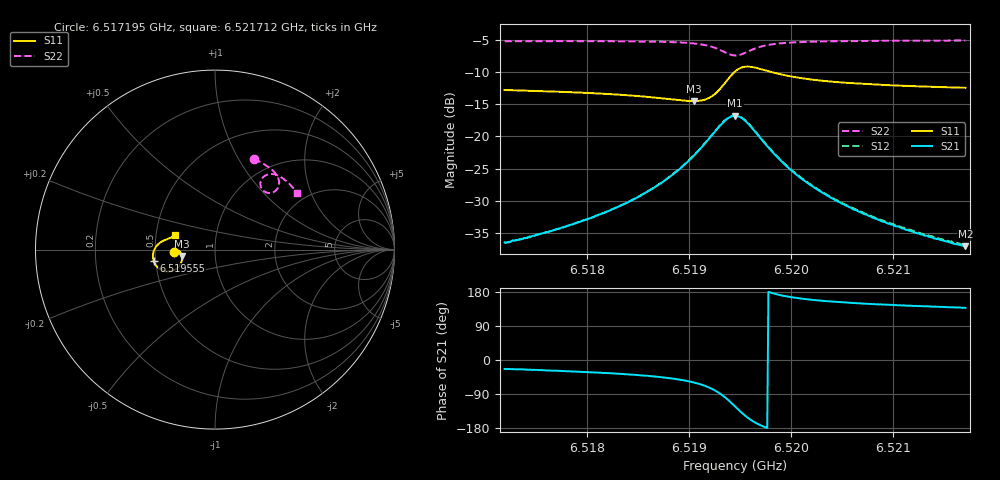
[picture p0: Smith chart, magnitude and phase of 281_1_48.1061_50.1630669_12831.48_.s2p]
#  HZ  S  RI  R  50.00
! Rohde & Schwarz Vector Network Analyzer
! Rohde-Schwarz,ZNB20-2Port,1311601062101988,3.16
! Created: UTC 12/23/2023, 4:02:45 AM
! freq[Hz]  re:S11  im:S11  re:S21  im:S21  re:S12  im:S12  re:S22  im:S22
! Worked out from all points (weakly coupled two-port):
!   401 points, 6.517195 GHz to 6.521712 GHz, reference 50 ohm
!   highest |S21| = -16.80 dB at 6.519454 GHz (marker M1); lowest = -37.0 dB at 6.521712 GHz (marker M2)
!   lowest |S11| = -14.5 dB at 6.519047 GHz (marker M3), VSWR 1.46, Z = 34.3 - j2.49 ohm
!   |S11| at or under -10 dB: start of sweep to 6.519448 GHz; 6.51981 GHz to end of sweep
!   |S22| runs from -7.4 to -5.1 dB; largest |S21 - S12| = 0.0044
!   S11 on the Smith chart (normalised r, x): 6.517195 GHz: 0.63, -0.02; 6.519555 GHz: 0.49, -0.07; 6.521712 GHz: 0.63, +0.11
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6.517195e9  -0.2289 -0.0131  0.0138 -0.00605  0.0138 -0.00549  0.217 0.5037
6.5175677e9  -0.2245 -0.00777  0.0158 -0.00801  0.016 -0.00755  0.2445 0.4914
6.5179516e9  -0.2185 -0.00375  0.0189 -0.0115  0.0192 -0.0108  0.2729 0.4762
6.5183807e9  -0.2092 -0.0027  0.0239 -0.0185  0.0245 -0.0176  0.305 0.4549
6.5187082e9  -0.1986 -0.00819  0.0302 -0.0298  0.0312 -0.029  0.3306 0.4317
6.5188889e9  -0.1909 -0.0177  0.0342 -0.0419  0.0356 -0.0411  0.3445 0.4134
6.519047e9  -0.1847 -0.0349  0.0362 -0.0605  0.0383 -0.0599  0.3551 0.3903
6.5191486e9  -0.1841 -0.0546  0.0334 -0.0796  0.036 -0.0791  0.3574 0.3692
6.5192277e9  -0.1903 -0.0766  0.0243 -0.0995  0.0275 -0.0994  0.3529 0.3485
6.5192841e9  -0.2024 -0.0952  0.0108 -0.1152  0.0143 -0.1158  0.3428 0.3329
6.5193632e9  -0.2372 -0.1181  -0.0237 -0.1322  -0.0201 -0.1338  0.3157 0.3164
6.5194535e9  -0.298 -0.114  -0.0776 -0.122  -0.0748 -0.1253  0.2736 0.325
6.5194987e9  -0.3241 -0.0941  -0.0988 -0.102  -0.0966 -0.1057  0.2588 0.3423
6.5195552e9  -0.3423 -0.0612  -0.1113 -0.0711  -0.1101 -0.0748  0.2529 0.3681
6.5196681e9  -0.3396 -0.0041  -0.1024 -0.0225  -0.1028 -0.0257  0.2701 0.4054
6.519781e9  -0.3198 0.0264  -0.0821 0.00044  -0.0829 -0.0019  0.2964 0.419
6.5199843e9  -0.2901 0.0482  -0.0548 0.013  -0.0558 0.0115  0.3327 0.4187
6.5202101e9  -0.2701 0.0568  -0.0383 0.0149  -0.0392 0.014  0.3599 0.408
6.5205376e9  -0.2532 0.063  -0.0257 0.0138  -0.0264 0.0132  0.388 0.3893
6.5209667e9  -0.2401 0.0691  -0.0173 0.0119  -0.0179 0.0116  0.4166 0.3637
6.5213846e9  -0.231 0.0748  -0.0128 0.0104  -0.0134 0.0103  0.44 0.3381
6.521712e9  -0.2251 0.0792  -0.0104 0.00946  -0.0108 0.00928  0.4563 0.3178
